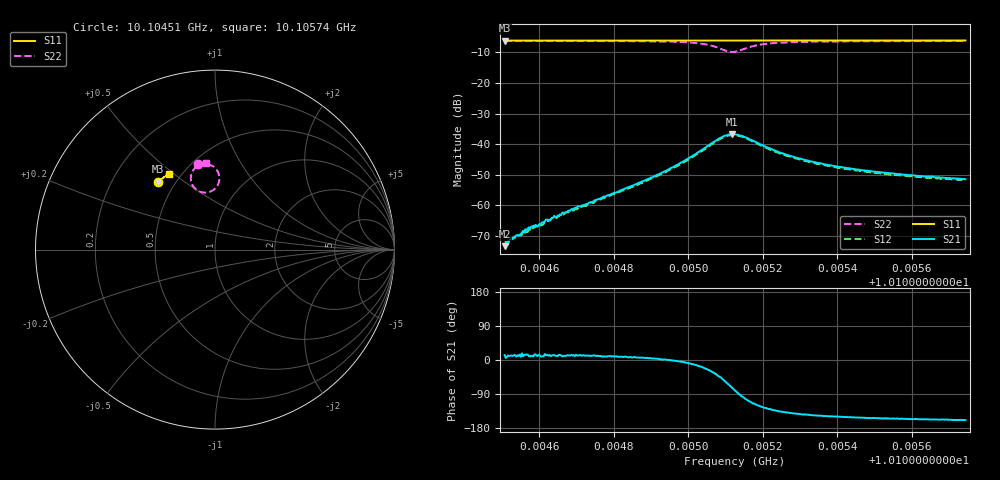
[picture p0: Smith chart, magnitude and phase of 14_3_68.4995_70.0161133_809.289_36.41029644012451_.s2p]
#  HZ  S  RI  R  50.00
! Rohde & Schwarz Vector Network Analyzer
! Rohde-Schwarz,ZNB20-2Port,1311601062101988,3.16
! Created: UTC 3/20/2024, 4:49:09 PM
! freq[Hz]  re:S11  im:S11  re:S21  im:S21  re:S12  im:S12  re:S22  im:S22
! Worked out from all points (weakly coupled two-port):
!   401 points, 10.10451 GHz to 10.10574 GHz, reference 50 ohm
!   highest |S21| = -36.73 dB at 10.10512 GHz (marker M1); lowest = -73.4 dB at 10.10451 GHz (marker M2)
!   lowest |S11| = -6.1 dB at 10.10451 GHz (marker M3), VSWR 2.94, Z = 20.2 + j20.1 ohm
!   |S11| at or under -10 dB: nowhere
!   |S22| runs from -9.9 to -6.3 dB; largest |S21 - S12| = 0.0016
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1.0104508e10  -0.3164 0.3777  0.000208 4.71e-05  0.000241 7.57e-05  -0.0969 0.4754
1.0104517e10  -0.3159 0.3782  0.000223 4.65e-05  0.00026 4.54e-05  -0.0961 0.4757
1.0104529e10  -0.3154 0.3787  0.000274 4.99e-05  0.000275 8.5e-05  -0.095 0.4757
1.0104585e10  -0.313 0.381  0.000457 7.61e-05  0.000418 0.000137  -0.0897 0.4769
1.01046e10  -0.3121 0.3816  0.000472 0.00012  0.000435 0.000164  -0.0883 0.477
1.0104616e10  -0.3114 0.3823  0.000532 0.000149  0.000517 0.000146  -0.0866 0.4772
1.0104631e10  -0.3107 0.3828  0.00057 0.000103  0.00054 0.000199  -0.0849 0.4775
1.0104715e10  -0.3068 0.3862  0.000975 0.000192  0.000895 0.000268  -0.0756 0.4788
1.0104869e10  -0.2995 0.3924  0.00233 0.000242  0.00218 0.00047  -0.0508 0.4787
1.0104922e10  -0.297 0.3945  0.00321 0.00016  0.00309 0.000422  -0.0372 0.4761
1.0104983e10  -0.2937 0.3967  0.00504 -0.000454  0.00486 -3.82e-06  -0.0145 0.4664
1.0105036e10  -0.2912 0.3986  0.00761 -0.00248  0.00745 -0.0017  0.0128 0.4389
1.0105089e10  -0.2884 0.4  0.00878 -0.00941  0.00928 -0.00829  0.0147 0.3589
1.0105116e10  -0.2874 0.4006  0.00449 -0.0139  0.0055 -0.0128  -0.0396 0.3189
1.0105126e10  -0.2872 0.401  0.00235 -0.0142  0.0036 -0.0136  -0.0638 0.3177
1.010516e10  -0.2861 0.4022  -0.0036 -0.012  -0.00238 -0.0118  -0.1242 0.3569
1.0105206e10  -0.2839 0.4043  -0.0055 -0.00744  -0.00462 -0.00747  -0.1335 0.4134
1.0105271e10  -0.281 0.407  -0.00491 -0.00422  -0.00438 -0.00448  -0.1167 0.4482
1.0105333e10  -0.2779 0.4092  -0.00427 -0.0029  -0.00382 -0.00316  -0.1022 0.4621
1.010541e10  -0.274 0.412  -0.00364 -0.00213  -0.00329 -0.0023  -0.0888 0.4707
1.010554e10  -0.2675 0.4168  -0.00301 -0.00144  -0.00275 -0.00161  -0.0718 0.4776
1.0105744e10  -0.2573 0.4239  -0.00248 -0.000962  -0.0023 -0.00113  -0.0521 0.4829
